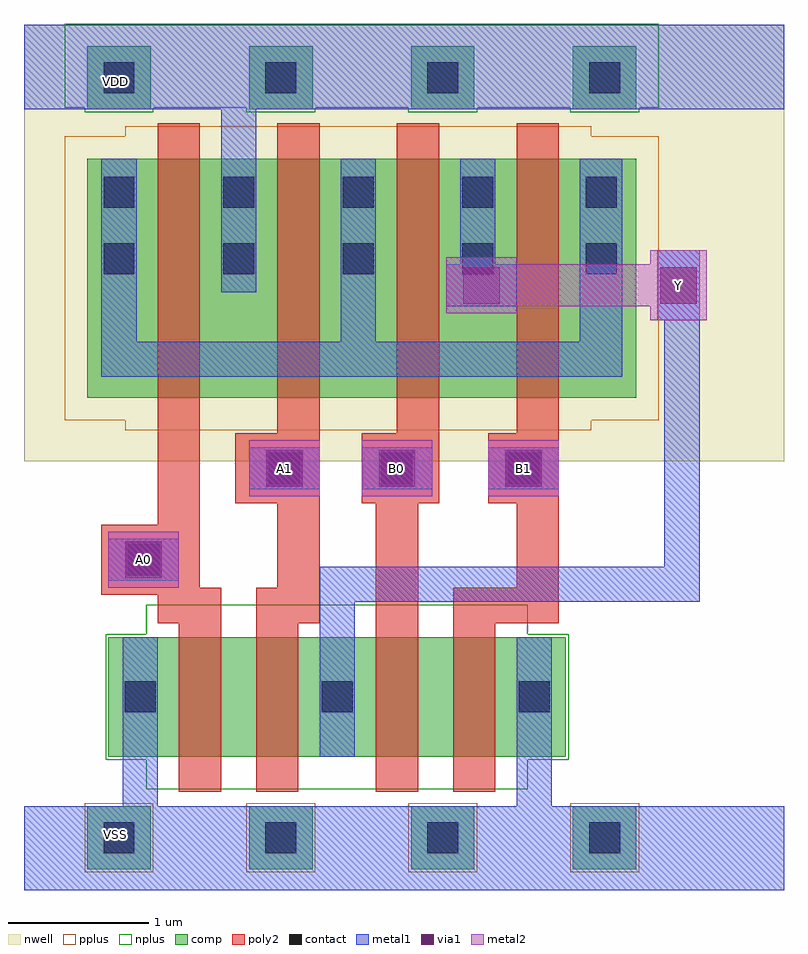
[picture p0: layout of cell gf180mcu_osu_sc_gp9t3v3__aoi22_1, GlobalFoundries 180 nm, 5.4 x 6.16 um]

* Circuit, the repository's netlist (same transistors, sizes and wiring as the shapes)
* Copyright 2022 Google LLC
*
* Licensed under the Apache License, Version 2.0 (the "License");
* you may not use this file except in compliance with the License.
* You may obtain a copy of the License at
*
*      http://www.apache.org/licenses/LICENSE-2.0
*
* Unless required by applicable law or agreed to in writing, software
* distributed under the License is distributed on an "AS IS" BASIS,
* WITHOUT WARRANTIES OR CONDITIONS OF ANY KIND, either express or implied.
* See the License for the specific language governing permissions and
* limitations under the License.

.inc "/import/yukari1/lrburle/OSU_180/char/techfiles/design.hspice"
.lib "/import/yukari1/lrburle/OSU_180/char/techfiles/sm141064.hspice" typical

.GLOBAL VDD
.GLOBAL VSS

.option scale=0.05u

.subckt gf180mcu_osu_sc_gp9t3v3__aoi22_1 Y A0 A1 B0 B1
X0 a_9_70 A1 VDD VDD pmos_3p3 w=34 l=6
X1 a_56_19 B0 Y VSS nmos_3p3 w=17 l=6
X2 Y B0 a_9_70 VDD pmos_3p3 w=34 l=6
X3 VDD A0 a_9_70 VDD pmos_3p3 w=34 l=6
X4 VSS B1 a_56_19 VSS nmos_3p3 w=17 l=6
X5 a_28_19 A0 VSS VSS nmos_3p3 w=17 l=6
X6 a_9_70 B1 Y VDD pmos_3p3 w=34 l=6
X7 Y A1 a_28_19 VSS nmos_3p3 w=17 l=6
.ends

** hspice subcircuit dictionary

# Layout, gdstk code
import gdstk
lib = gdstk.Library(unit=1e-6, precision=1e-09)
def R(c, l, rs):  # rectangles x0, y0, x1, y1
    for r in rs: c.add(gdstk.rectangle(r[:2], r[2:], *l))
def A(c, l, x, y, w, h, nx, ny, dx, dy):  # array of equal rectangles
    R(c, l, [(x+i*dx, y+j*dy, x+i*dx+w, y+j*dy+h) for i in range(nx) for j in range(ny)])
nwell = (21, 0)
comp = (22, 0)
poly2 = (30, 0)
pplus = (31, 0)
nplus = (32, 0)
contact = (33, 0)
metal1 = (34, 0)
via1 = (35, 0)
metal2 = (36, 0)

gf180mcu_osu_sc_gp9t3v3_ = lib.new_cell('gf180mcu_osu_sc_gp9t3v3__aoi22_1')
R(gf180mcu_osu_sc_gp9t3v3_, nwell, [(0,3.05,5.4,6.15)])
A(gf180mcu_osu_sc_gp9t3v3_, comp, 0.45, 0.15, 0.45, 0.45, 4, 2, 1.15, 5.4)
R(gf180mcu_osu_sc_gp9t3v3_, comp, [(0.6,0.95,3.85,1.8), (0.45,3.5,4.35,5.2)])
A(gf180mcu_osu_sc_gp9t3v3_, poly2, 1.8, 3.25, 0.3, 2.2, 3, 1, 0.85, 0)
R(gf180mcu_osu_sc_gp9t3v3_, poly2, [(1.1,0.7,1.4,1.9), (1.65,0.7,1.95,1.9), (2.5,0.7,2.8,2.75), (3.05,0.7,3.35,1.9), (0.95,1.9,1.4,2.1), (1.65,1.9,2.1,2.15), (3.05,1.9,3.8,2.15), (0.55,2.1,1.4,2.15), (0.55,2.15,1.25,2.6), (1.8,2.15,2.1,2.75), (3.5,2.15,3.8,2.75), (0.95,2.6,1.25,5.45), (1.5,2.75,2.1,3.25), (2.4,2.75,2.95,3.25), (3.3,2.75,3.8,3.25)])
A(gf180mcu_osu_sc_gp9t3v3_, pplus, 0.43, 0.13, 0.49, 0.49, 4, 1, 1.15, 0)
R(gf180mcu_osu_sc_gp9t3v3_, pplus, [(0.72,3.27,4.03,3.34), (0.29,3.34,4.51,5.36), (0.72,5.36,4.03,5.43)])
A(gf180mcu_osu_sc_gp9t3v3_, nplus, 0.43, 5.53, 0.49, 0.03, 4, 1, 1.15, 0)
R(gf180mcu_osu_sc_gp9t3v3_, nplus, [(0.87,0.72,3.58,0.93), (0.58,0.93,3.87,1.82), (0.87,1.82,3.58,2.03), (0.29,5.56,4.51,6.16)])
A(gf180mcu_osu_sc_gp9t3v3_, contact, 0.565, 0.265, 0.22, 0.22, 4, 2, 1.15, 5.4)
A(gf180mcu_osu_sc_gp9t3v3_, contact, 0.715, 1.265, 0.22, 0.22, 3, 1, 1.4, 0)
A(gf180mcu_osu_sc_gp9t3v3_, contact, 0.565, 4.38, 0.22, 0.22, 4, 2, 0.85, 0.47)
R(gf180mcu_osu_sc_gp9t3v3_, contact, [(0.74,2.24,0.96,2.46), (1.74,2.89,1.96,3.11), (2.54,2.89,2.76,3.11), (3.44,2.89,3.66,3.11), (3.99,4.38,4.21,4.6), (3.99,4.85,4.21,5.07)])
R(gf180mcu_osu_sc_gp9t3v3_, metal1, [(0,0,5.4,0.6), (0.7,0.6,0.95,1.8), (3.5,0.6,3.75,1.8), (2.1,0.95,2.35,2.05), (2.1,2.05,4.8,2.3), (0.6,2.2,1.1,2.5), (4.55,2.3,4.8,4.05), (1.6,2.85,2.1,3.15), (2.4,2.85,2.9,3.15), (3.3,2.85,3.8,3.15), (0.55,3.65,4.25,3.9), (0.55,3.9,0.8,5.2), (2.25,3.9,2.5,5.2), (3.95,3.9,4.25,5.2), (4.5,4.05,4.8,4.55), (3,4.15,3.5,4.45), (1.4,4.25,1.65,5.55), (3.1,4.45,3.35,5.2), (0,5.55,5.4,6.15)])
R(gf180mcu_osu_sc_gp9t3v3_, via1, [(0.72,2.22,0.98,2.48), (1.72,2.87,1.98,3.13), (2.52,2.87,2.78,3.13), (3.42,2.87,3.68,3.13), (3.12,4.17,3.38,4.43), (4.52,4.17,4.78,4.43)])
R(gf180mcu_osu_sc_gp9t3v3_, metal2, [(0.6,2.15,1.1,2.55), (1.6,2.8,2.1,3.2), (2.4,2.8,2.9,3.2), (3.3,2.8,3.8,3.2), (4.45,4.05,4.85,4.15), (3,4.1,3.5,4.15), (3,4.15,4.85,4.45), (3,4.45,3.5,4.5), (4.45,4.45,4.85,4.55)])
gf180mcu_osu_sc_gp9t3v3_.add(gdstk.Label('VDD', (0.65,5.75), layer=34, texttype=0))
gf180mcu_osu_sc_gp9t3v3_.add(gdstk.Label('VSS', (0.65,0.4), layer=34, texttype=0))
gf180mcu_osu_sc_gp9t3v3_.add(gdstk.Label('Y', (4.65,4.3), layer=36, texttype=10))
gf180mcu_osu_sc_gp9t3v3_.add(gdstk.Label('A0', (0.85,2.35), layer=36, texttype=10))
gf180mcu_osu_sc_gp9t3v3_.add(gdstk.Label('A1', (1.85,3), layer=36, texttype=10))
gf180mcu_osu_sc_gp9t3v3_.add(gdstk.Label('B0', (2.65,3), layer=36, texttype=10))
gf180mcu_osu_sc_gp9t3v3_.add(gdstk.Label('B1', (3.55,3), layer=36, texttype=10))

lib.write_gds('gf180mcu_osu_sc_gp9t3v3__aoi22_1.gds')
